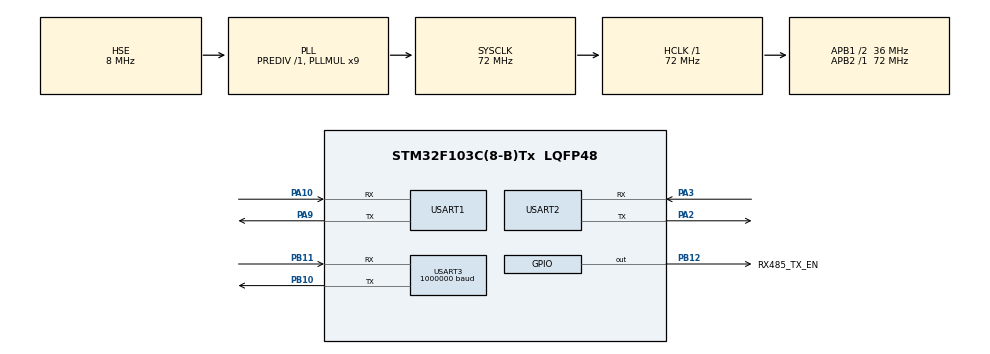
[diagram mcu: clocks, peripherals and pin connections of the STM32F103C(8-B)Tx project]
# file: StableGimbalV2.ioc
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Dma.Request0=USART2_RX
Dma.USART2_RX.0.Direction=DMA_PERIPH_TO_MEMORY
Dma.USART2_RX.0.Instance=DMA1_Channel6
Dma.USART2_RX.0.MemDataAlignment=DMA_MDATAALIGN_BYTE
Dma.USART2_RX.0.MemInc=DMA_MINC_ENABLE
Dma.USART2_RX.0.Mode=DMA_CIRCULAR
Dma.USART2_RX.0.PeriphDataAlignment=DMA_PDATAALIGN_BYTE
Dma.USART2_RX.0.PeriphInc=DMA_PINC_DISABLE
Dma.USART2_RX.0.Priority=DMA_PRIORITY_HIGH
Mcu.Family=STM32F1
Mcu.Name=STM32F103C(8-B)Tx
Mcu.Package=LQFP48
NVIC.DMA1_Channel6_IRQn=true\:0\:0\:false\:false\:true\:false\:true\:true
NVIC.PriorityGroup=NVIC_PRIORITYGROUP_4
NVIC.TIM2_IRQn=true\:0\:0\:false\:false\:true\:true\:true\:true
NVIC.USART1_IRQn=true\:2\:0\:true\:false\:true\:true\:true\:true
NVIC.USART2_IRQn=true\:1\:0\:true\:false\:true\:true\:true\:true
PA10.Mode=Asynchronous
PA10.Signal=USART1_RX
PA13.Mode=Serial_Wire
PA13.Signal=SYS_JTMS-SWDIO
PA14.Mode=Serial_Wire
PA14.Signal=SYS_JTCK-SWCLK
PA2.Mode=Asynchronous
PA2.Signal=USART2_TX
PA3.Mode=Asynchronous
PA3.Signal=USART2_RX
PA9.Mode=Asynchronous
PA9.Signal=USART1_TX
PB10.Mode=Asynchronous
PB10.Signal=USART3_TX
PB11.Mode=Asynchronous
PB11.Signal=USART3_RX
PB12.GPIO_Label=RX485_TX_EN
PB12.GPIO_Speed=GPIO_SPEED_FREQ_HIGH
PB12.Signal=GPIO_Output
PD0-OSC_IN.Mode=HSE-External-Oscillator
PD0-OSC_IN.Signal=RCC_OSC_IN
PD1-OSC_OUT.Mode=HSE-External-Oscillator
PD1-OSC_OUT.Signal=RCC_OSC_OUT
ProjectManager.HeapSize=0x200
ProjectManager.StackSize=0x400
ProjectManager.TargetToolchain=CMake
RCC.AHBFreq_Value=72000000
RCC.APB1CLKDivider=RCC_HCLK_DIV2
RCC.APB1Freq_Value=36000000
RCC.APB1TimFreq_Value=72000000
RCC.APB2Freq_Value=72000000
RCC.APB2TimFreq_Value=72000000
RCC.HCLKFreq_Value=72000000
RCC.PLLMUL=RCC_PLL_MUL9
RCC.PLLSourceVirtual=RCC_PLLSOURCE_HSE
RCC.SYSCLKFreq_VALUE=72000000
RCC.SYSCLKSource=RCC_SYSCLKSOURCE_PLLCLK
RCC.USBFreq_Value=72000000
TIM2.Period=9999
TIM2.Prescaler=71
USART1.VirtualMode=VM_ASYNC
USART2.VirtualMode=VM_ASYNC
USART3.BaudRate=1000000
USART3.VirtualMode=VM_ASYNC
VP_TIM2_VS_ClockSourceINT.Mode=Internal
board=custom

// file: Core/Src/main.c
/* USER CODE BEGIN Header */
/**
  ******************************************************************************
  * @file           : main.c
  * @brief          : Main program body
  ******************************************************************************
  * @attention
  *
  * Copyright (c) 2026 STMicroelectronics.
  * All rights reserved.
  *
  * This software is licensed under terms that can be found in the LICENSE file
  * in the root directory of this software component.
  * If no LICENSE file comes with this software, it is provided AS-IS.
  *
  ******************************************************************************
  */
/* USER CODE END Header */
#include "main.h"

/* USER CODE BEGIN Includes */
#include "jy901s.h"
#include "ax12a.h"
#include "pid.h"
#include <stdio.h>
#include <stdlib.h>
/* USER CODE END Includes */

TIM_HandleTypeDef htim2;

UART_HandleTypeDef huart1;
UART_HandleTypeDef huart2;
UART_HandleTypeDef huart3;
DMA_HandleTypeDef hdma_usart2_rx;

/* USER CODE BEGIN PV */
Jy901s g_jy901s;
Ax12aBus g_ax12aBus;
CascadedPid g_cascadedPitch;  /* 舵机1 */
CascadedPid g_cascadedRoll;   /* 舵机2 */
CascadedPid g_cascadedYaw;    /* 舵机3 */
uint16_t g_goalPos[3]; /* [0]=Pitch(ID1), [1]=Roll(ID2), [2]=Yaw(ID3) */

/* printf 重定向到 USART1 */
int __io_putchar(int ch)
{
    HAL_UART_Transmit(&huart1, (uint8_t *)&ch, 1, HAL_MAX_DELAY);
    return ch;
}
/* USER CODE END PV */

void SystemClock_Config(void);
static void MX_GPIO_Init(void);
static void MX_DMA_Init(void);
static void MX_USART2_UART_Init(void);
static void MX_USART1_UART_Init(void);
static void MX_USART3_UART_Init(void);
static void MX_TIM2_Init(void);

int main(void)
{

  /* MCU Configuration--------------------------------------------------------*/

  /* Reset of all peripherals, Initializes the Flash interface and the Systick. */
  HAL_Init();

  /* Configure the system clock */
  SystemClock_Config();

  /* Initialize all configured peripherals */
  MX_GPIO_Init();
  MX_DMA_Init();
  MX_USART2_UART_Init();
  MX_USART1_UART_Init();
  MX_USART3_UART_Init();
  MX_TIM2_Init();
  /* USER CODE BEGIN 2 */

  /* ---- 硬件初始化 ---- */
  jy901sInit(&g_jy901s, &huart2);
  jy901sStartReceive(&g_jy901s);

  ax12aInit(&g_ax12aBus, &huart3, RX485_TX_EN_GPIO_Port,
            RX485_TX_EN_Pin);
  HAL_Delay(2000);

  /* 初始化舵机为关节模式 + 固定速度 */
  ax12aSetMovingSpeed(&g_ax12aBus, 1, 200);
  ax12aSetMovingSpeed(&g_ax12aBus, 2, 200);
  ax12aSetMovingSpeed(&g_ax12aBus, 3, 200);
  HAL_Delay(100);

  /* ---- 舵机初始化位置 ---- */
  g_goalPos[0] = 512;  /* Servo1 Pitch 初始位置 512 */
  g_goalPos[1] = 512;  /* Servo2 Roll  初始位置 512 */
  g_goalPos[2] = 512;  /* Servo3 Yaw   初始位置 512 */
  ax12aSetGoalPosition(&g_ax12aBus, 1, g_goalPos[0]);
  ax12aSetGoalPosition(&g_ax12aBus, 2, g_goalPos[1]);
  ax12aSetGoalPosition(&g_ax12aBus, 3, g_goalPos[2]);
  printf("=== Servos: Servo1(Pitch)=512, Servo2(Roll)=512, Servo3(Yaw)=512 ===\r\n");
  HAL_Delay(2000);

  /* ---- 初始化 PID ---- */
  extern volatile uint32_t g_pidFlag;
  cascadedPidInitTuned(&g_cascadedPitch,  0.0f, 1);  /* 舵机1 Pitch 稳定中心 0° */
  cascadedPidInitTuned(&g_cascadedRoll,   0.0f, 2);  /* 舵机2 Roll  稳定中心 0° */
  cascadedPidInitTuned(&g_cascadedYaw,    0.0f, 3);  /* 舵机3 Yaw   稳定中心 0° */

  /* 启动 TIM2 100Hz 中断 */
  HAL_TIM_Base_Start_IT(&htim2);

  printf("=== Gimbal Ready ===\r\n");
  /* USER CODE END 2 */

  /* Infinite loop */
  while (1)
  {

    /* USER CODE BEGIN 3 */

    if (g_pidFlag == 0) {
        continue;
    }
    g_pidFlag--;

    jy901sPoll(&g_jy901s);

    if (!jy901sIsDataReady(&g_jy901s)) {
        continue;
    }
    jy901sClearDataReady(&g_jy901s);

    /* 读取当前姿态角和角速度 */
    float currentPitch = g_jy901s.pitch;
    float currentRoll  = g_jy901s.roll;
    float currentYaw   = g_jy901s.yaw;
    float gyroWy       = g_jy901s.wy;
    float gyroWx       = g_jy901s.wx;
    float gyroWz       = g_jy901s.wz;

    /* Servo1 Pitch 串级控制: 内环 100Hz + 外环 20Hz */
    {
        static uint8_t outerCnt = 0;

        pidAx12aPitchOutput(&g_cascadedPitch, gyroWy,
                            g_goalPos, &g_ax12aBus);
        outerCnt++;
        if (outerCnt >= 5) {
            outerCnt = 0;
            cascadedPidOuterUpdate(&g_cascadedPitch, currentPitch);
        }
    }

    /* Roll 串级控制: 内环 100Hz + 外环 20Hz */
    {
        static uint8_t outerCnt = 0;

        pidAx12aRollOutput(&g_cascadedRoll, gyroWx,
                           g_goalPos, &g_ax12aBus);
        outerCnt++;
        if (outerCnt >= 5) {
            outerCnt = 0;
            cascadedPidOuterUpdate(&g_cascadedRoll, currentRoll);
        }
    }

    /* Yaw 串级控制: 内环 100Hz + 外环 20Hz */
    // {
    //     static uint8_t outerCnt = 0;

    //     pidAx12aYawOutput(&g_cascadedYaw, gyroWz,
    //                       g_goalPos, &g_ax12aBus);
    //     outerCnt++;
    //     if (outerCnt >= 5) {
    //         outerCnt = 0;
    //         cascadedPidOuterUpdate(&g_cascadedYaw, currentYaw);
    //     }
    // }

    /* VOFA+ Firewater: 每10拍打印1次 (10Hz) — 仅姿态角 */
    {
        static uint8_t printCnt = 0;
        printCnt++;
        if (printCnt >= 10) {
            printCnt = 0;
            printf("%.2f,%.2f,%.2f\r\n",
                   currentPitch, currentRoll, currentYaw);
        }
    }
  }
  /* USER CODE END 3 */
}

void SystemClock_Config(void)
{
  RCC_OscInitTypeDef RCC_OscInitStruct = {0};
  RCC_ClkInitTypeDef RCC_ClkInitStruct = {0};

  /** Initializes the RCC Oscillators according to the specified parameters
  * in the RCC_OscInitTypeDef structure.
  */
  RCC_OscInitStruct.OscillatorType = RCC_OSCILLATORTYPE_HSE;
  RCC_OscInitStruct.HSEState = RCC_HSE_ON;
  RCC_OscInitStruct.HSEPredivValue = RCC_HSE_PREDIV_DIV1;
  RCC_OscInitStruct.HSIState = RCC_HSI_ON;
  RCC_OscInitStruct.PLL.PLLState = RCC_PLL_ON;
  RCC_OscInitStruct.PLL.PLLSource = RCC_PLLSOURCE_HSE;
  RCC_OscInitStruct.PLL.PLLMUL = RCC_PLL_MUL9;
  if (HAL_RCC_OscConfig(&RCC_OscInitStruct) != HAL_OK)
  {
    Error_Handler();
  }

  /** Initializes the CPU, AHB and APB buses clocks
  */
  RCC_ClkInitStruct.ClockType = RCC_CLOCKTYPE_HCLK|RCC_CLOCKTYPE_SYSCLK
                              |RCC_CLOCKTYPE_PCLK1|RCC_CLOCKTYPE_PCLK2;
  RCC_ClkInitStruct.SYSCLKSource = RCC_SYSCLKSOURCE_PLLCLK;
  RCC_ClkInitStruct.AHBCLKDivider = RCC_SYSCLK_DIV1;
  RCC_ClkInitStruct.APB1CLKDivider = RCC_HCLK_DIV2;
  RCC_ClkInitStruct.APB2CLKDivider = RCC_HCLK_DIV1;

  if (HAL_RCC_ClockConfig(&RCC_ClkInitStruct, FLASH_LATENCY_2) != HAL_OK)
  {
    Error_Handler();
  }
}

static void MX_TIM2_Init(void)
{

  TIM_ClockConfigTypeDef sClockSourceConfig = {0};
  TIM_MasterConfigTypeDef sMasterConfig = {0};

  htim2.Instance = TIM2;
  htim2.Init.Prescaler = 71;
  htim2.Init.CounterMode = TIM_COUNTERMODE_UP;
  htim2.Init.Period = 9999;
  htim2.Init.ClockDivision = TIM_CLOCKDIVISION_DIV1;
  htim2.Init.AutoReloadPreload = TIM_AUTORELOAD_PRELOAD_DISABLE;
  if (HAL_TIM_Base_Init(&htim2) != HAL_OK)
  {
    Error_Handler();
  }
  sClockSourceConfig.ClockSource = TIM_CLOCKSOURCE_INTERNAL;
  if (HAL_TIM_ConfigClockSource(&htim2, &sClockSourceConfig) != HAL_OK)
  {
    Error_Handler();
  }
  sMasterConfig.MasterOutputTrigger = TIM_TRGO_RESET;
  sMasterConfig.MasterSlaveMode = TIM_MASTERSLAVEMODE_DISABLE;
  if (HAL_TIMEx_MasterConfigSynchronization(&htim2, &sMasterConfig) != HAL_OK)
  {
    Error_Handler();
  }

}

static void MX_USART1_UART_Init(void)
{

  huart1.Instance = USART1;
  huart1.Init.BaudRate = 115200;
  huart1.Init.WordLength = UART_WORDLENGTH_8B;
  huart1.Init.StopBits = UART_STOPBITS_1;
  huart1.Init.Parity = UART_PARITY_NONE;
  huart1.Init.Mode = UART_MODE_TX_RX;
  huart1.Init.HwFlowCtl = UART_HWCONTROL_NONE;
  huart1.Init.OverSampling = UART_OVERSAMPLING_16;
  if (HAL_UART_Init(&huart1) != HAL_OK)
  {
    Error_Handler();
  }

}

static void MX_USART2_UART_Init(void)
{

  huart2.Instance = USART2;
  huart2.Init.BaudRate = 115200;
  huart2.Init.WordLength = UART_WORDLENGTH_8B;
  huart2.Init.StopBits = UART_STOPBITS_1;
  huart2.Init.Parity = UART_PARITY_NONE;
  huart2.Init.Mode = UART_MODE_TX_RX;
  huart2.Init.HwFlowCtl = UART_HWCONTROL_NONE;
  huart2.Init.OverSampling = UART_OVERSAMPLING_16;
  if (HAL_UART_Init(&huart2) != HAL_OK)
  {
    Error_Handler();
  }

}

static void MX_USART3_UART_Init(void)
{

  huart3.Instance = USART3;
  huart3.Init.BaudRate = 1000000;
  huart3.Init.WordLength = UART_WORDLENGTH_8B;
  huart3.Init.StopBits = UART_STOPBITS_1;
  huart3.Init.Parity = UART_PARITY_NONE;
  huart3.Init.Mode = UART_MODE_TX_RX;
  huart3.Init.HwFlowCtl = UART_HWCONTROL_NONE;
  huart3.Init.OverSampling = UART_OVERSAMPLING_16;
  if (HAL_UART_Init(&huart3) != HAL_OK)
  {
    Error_Handler();
  }

}

static void MX_DMA_Init(void)
{

  /* DMA controller clock enable */
  __HAL_RCC_DMA1_CLK_ENABLE();

  /* DMA interrupt init */
  /* DMA1_Channel6_IRQn interrupt configuration */
  HAL_NVIC_SetPriority(DMA1_Channel6_IRQn, 0, 0);
  HAL_NVIC_EnableIRQ(DMA1_Channel6_IRQn);

}

static void MX_GPIO_Init(void)
{
  GPIO_InitTypeDef GPIO_InitStruct = {0};

  /* GPIO Ports Clock Enable */
  __HAL_RCC_GPIOD_CLK_ENABLE();
  __HAL_RCC_GPIOA_CLK_ENABLE();
  __HAL_RCC_GPIOB_CLK_ENABLE();

  /*Configure GPIO pin Output Level */
  HAL_GPIO_WritePin(RX485_TX_EN_GPIO_Port, RX485_TX_EN_Pin, GPIO_PIN_RESET);

  /*Configure GPIO pin : RX485_TX_EN_Pin */
  GPIO_InitStruct.Pin = RX485_TX_EN_Pin;
  GPIO_InitStruct.Mode = GPIO_MODE_OUTPUT_PP;
  GPIO_InitStruct.Pull = GPIO_NOPULL;
  GPIO_InitStruct.Speed = GPIO_SPEED_FREQ_HIGH;
  HAL_GPIO_Init(RX485_TX_EN_GPIO_Port, &GPIO_InitStruct);

}

void Error_Handler(void)
{
  __disable_irq();
  while (1)
  {
  }
}
